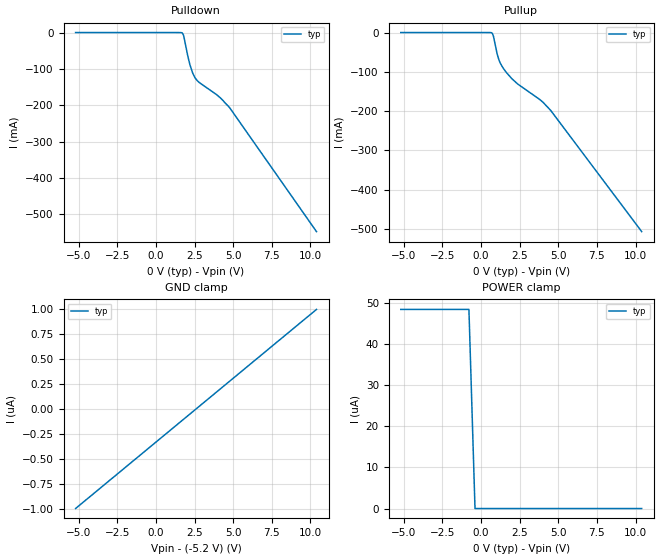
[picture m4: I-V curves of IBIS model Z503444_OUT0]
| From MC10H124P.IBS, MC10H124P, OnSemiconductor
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| (C) COPYRIGHT 1993-2000
| MENTOR GRAPHICS CORPORATION
| ICX STANDARD LIBRARY, ICX PROJECT MODELING,
| ICX CUSTOM MODELING, ICX VENDOR MODEL
| ALL RIGHTS RESERVED.
| THE FOLLOWING ARE TRADEMARKS OR SERVICE MARKS OF
| MENTOR GRAPHICS CORPORATION:ICX (R), ICX STANDARD
| LIBRARY(R), ICX PROJECT MODELING(R), ICX CUSTOM
| MODELING(R), qualityIBIS(TM), MODELVIEWER(TM),
| AND MODELEDITOR(TM)
| ALL COPIES OF SOFTWARE, INCLUDING BUT NOT LIMITED TO
| ANY MODIFICATIONS, ENHANCEMENTS OR DERIVATIVE WORKS,
| MUST CONTAIN ALL MENTOR GRAPHICS CORPORATION'S
| NOTICES AND LEGENDS, INCLUDING THOSE EMBEDDED IN
| SOFTWARE AND THOSE AFFIXED TO SOFTWARE MEDIUM
| AND CONTAINER, AS RECEIVED FROM MENTOR GRAPHICS
| CORPORATION.
| Model Application Version 1.89 2/18/99.
[Model] Z503444_OUT0
Model_type Output_ECL
Vref=-2.000V
Rref=50.00ohms
Cref=0.000F
Vmeas=-1.305V
C_comp 8.000pF NA NA
| variable typ   min   max
[Voltage Range] -5.200V NA NA
[POWER Clamp Reference] 0.000V NA NA
[Pullup Reference] 0.000V NA NA
[Pulldown Reference] 0.000V NA NA
[GND Clamp Reference] -5.200V NA NA
[GND Clamp]
-5.2V     -1uA       NA         NA
10.4V     1uA        NA         NA
[Pulldown]
-5.2V     174.9uA    NA         NA
1.705V    -988.6uA   NA         NA
1.782V    -6.447mA   NA         NA
1.815V    -11.63mA   NA         NA
2.071V    -65.45mA   NA         NA
2.207V    -89.05mA   NA         NA
2.383V    -111.3mA   NA         NA
2.53V     -124.2mA   NA         NA
2.813V    -137.6mA   NA         NA
4.168V    -179.4mA   NA         NA
4.759V    -205.7mA   NA         NA
10.4V     -547.8mA   NA         NA
[Pullup]
-5.2V     178.6uA    NA         NA
687.2mV   -610.1uA   NA         NA
729.7mV   -2.005mA   NA         NA
800.5mV   -9.086mA   NA         NA
1.045V    -55.01mA   NA         NA
1.152V    -68.98mA   NA         NA
1.318V    -82.97mA   NA         NA
1.616V    -100.5mA   NA         NA
2.363V    -130.6mA   NA         NA
3.817V    -170.8mA   NA         NA
4.507V    -198mA     NA         NA
10.4V     -506.6mA   NA         NA
[POWER Clamp]
-5.2V     48.4uA     NA         NA
-786.2mV  48.4uA     NA         NA
-393.1mV  0A         NA         NA
10.4V     0A         NA         NA
[Ramp]
| variable typ min max
dV/dt_r 532.1m/1.424n NA NA
dV/dt_f 532.1m/790.7p NA NA
R_load = 50.00Ohms
